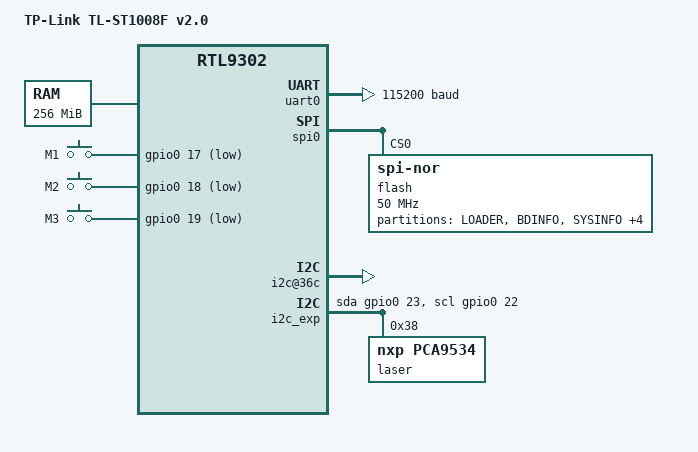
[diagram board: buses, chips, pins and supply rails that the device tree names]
// SPDX-License-Identifier: GPL-2.0+
/*
 * TP-Link TL-ST1008F v2 (RTL9303), U-Boot stage 0: console + memory only.
 * UART/clock facts match Linux (OpenWrt rtl930x.dtsi, ns16550a @ 0x18002000).
 */
/dts-v1/;

/ {
	compatible = "tplink,tl-st1008f-v2", "realtek,rtl9302-soc";
	model = "TP-Link TL-ST1008F v2.0";
	#address-cells = <1>;
	#size-cells = <1>;

	aliases {
		serial0 = &uart0;
		/* i2c0..7 = SFP cage 1..8 (EEPROM 0x50, DDM 0x51); i2c8 = laser TX-disable expander */
		i2c0 = &sfp_i2c0;
		i2c1 = &sfp_i2c1;
		i2c2 = &sfp_i2c2;
		i2c3 = &sfp_i2c3;
		i2c4 = &sfp_i2c4;
		i2c5 = &sfp_i2c5;
		i2c6 = &sfp_i2c6;
		i2c7 = &sfp_i2c7;
		i2c8 = &i2c_exp;
	};

	chosen {
		stdout-path = "serial0:115200n8";
	};

	cpus {
		#address-cells = <1>;
		#size-cells = <0>;

		cpu@0 {
			device_type = "cpu";
			compatible = "mips,mips34Kc";
			reg = <0>;
		};
	};

	/* Second 256 MiB is not linearly mapped (needs highmem remap). */
	memory@0 {
		device_type = "memory";
		reg = <0x00000000 0x10000000>;
	};

	soc {
		compatible = "simple-bus";
		#address-cells = <1>;
		#size-cells = <1>;
		ranges = <0x0 0x18000000 0x10000>;

		/* Data in bits 31:24 = byte 0 of each 32-bit reg. U-Boot's BE ns16550 reads
		 * byte (1 << shift) - 1; reg-offset -3 (u32 wrap) cancels that. */
		uart0: serial@2000 {
			compatible = "ns16550a";
			reg = <0x2000 0x100>;
			reg-io-width = <1>;
			reg-shift = <2>;
			reg-offset = <0xfffffffd>;
			clock-frequency = <175000000>;	/* LX bus */
			current-speed = <115200>;
			no-loopback-test;
		};

		gpio0: gpio@3300 {
			compatible = "realtek,rtl9300-gpio";
			reg = <0x3300 0x1c>;
			gpio-controller;
			#gpio-cells = <2>;
			ngpios = <24>;
			gpio-bank-name = "gpio";
		};

		/* SPI-NOR controller (Linux rtl930x.dtsi spi@1200). Read-only driver; clock divider inherited from stock. */
		spi0: spi@1200 {
			compatible = "realtek,rtl8380-spi";
			reg = <0x1200 0x100>;
			#address-cells = <1>;
			#size-cells = <0>;

			flash@0 {
				compatible = "jedec,spi-nor";	/* Winbond EF4019, 32 MiB; also mapped at 0xb4000000 */
				reg = <0>;
				spi-max-frequency = <50000000>;	/* ignored by the driver (no divider control) */

				partitions {
					compatible = "fixed-partitions";
					#address-cells = <1>;
					#size-cells = <1>;

					partition@0 {
						label = "LOADER";
						reg = <0x0 0xe0000>;
						read-only;
					};
					partition@e0000 {
						label = "BDINFO";
						reg = <0xe0000 0x10000>;
						read-only;
					};
					partition@f0000 {
						label = "SYSINFO";
						reg = <0xf0000 0x10000>;
						read-only;
					};
					partition@100000 {
						label = "JFFS2_CFG";
						reg = <0x100000 0x100000>;
						read-only;
					};
					partition@200000 {
						label = "JFFS2_LOG";
						reg = <0x200000 0x100000>;
						read-only;
					};
					partition@300000 {
						label = "RUNTIME1";
						reg = <0x300000 0xe80000>;
						read-only;
					};
					partition@1180000 {
						label = "RUNTIME2";
						reg = <0x1180000 0xe80000>;
						read-only;
					};
				};
			};
		};
	};

	/* Switch core register block (Linux rtl930x.dtsi switch@1b000000). */
	switchcore {
		compatible = "simple-bus";
		#address-cells = <1>;
		#size-cells = <1>;
		ranges = <0x0 0x1b000000 0x10000>;

		/* SFP I2C master 0: SCL0 = GPIO8, SDA0-7 = GPIO9-16, one SDA per cage.
		 * 100 kHz = SFF-8472 base rate (400 kHz optional per module; #32). */
		i2c@36c {
			compatible = "realtek,rtl9301-i2c";
			reg = <0x36c 0x14>;
			#address-cells = <1>;
			#size-cells = <0>;

			sfp_i2c0: i2c@0 { reg = <0>; clock-frequency = <100000>; };
			sfp_i2c1: i2c@1 { reg = <1>; clock-frequency = <100000>; };
			sfp_i2c2: i2c@2 { reg = <2>; clock-frequency = <100000>; };
			sfp_i2c3: i2c@3 { reg = <3>; clock-frequency = <100000>; };
			sfp_i2c4: i2c@4 { reg = <4>; clock-frequency = <100000>; };
			sfp_i2c5: i2c@5 { reg = <5>; clock-frequency = <100000>; };
			sfp_i2c6: i2c@6 { reg = <6>; clock-frequency = <100000>; };
			sfp_i2c7: i2c@7 { reg = <7>; clock-frequency = <100000>; };
		};
	};

	/* Bit-banged bus to the TCA9534A laser TX-disable expander (SDA GPIO23, SCL GPIO22).
	 * Expander pin N = cage N+1, active-high TX-disable; power-on = all inputs = lasers off. */
	i2c_exp: i2c-expander {
		compatible = "i2c-gpio";
		sda-gpios = <&gpio0 23 0>;
		scl-gpios = <&gpio0 22 0>;
		i2c-gpio,delay-us = <2>;	/* same as the OpenWrt DTS */
		#address-cells = <1>;
		#size-cells = <0>;

		gpio_exp: gpio@38 {
			compatible = "nxp,pca9534";	/* TCA9534A: same register map */
			reg = <0x38>;
			gpio-controller;
			#gpio-cells = <2>;
			label = "laser";
		};
	};

	/* 3-position mode switch, one-hot active-low (stock rtk.ko decode, docs/hardware.md).
	 * Pin 17 reads low in every position so far (#8): reported as-is, not interpreted. */
	keys {
		compatible = "gpio-keys";

		mode-m1 {
			label = "M1";
			gpios = <&gpio0 17 1>;	/* GPIO_ACTIVE_LOW */
			linux,code = <256>;	/* BTN_0; button-gpio probe requires it */
		};
		mode-m2 {
			label = "M2";
			gpios = <&gpio0 18 1>;
			linux,code = <257>;	/* BTN_1 */
		};
		mode-m3 {
			label = "M3";
			gpios = <&gpio0 19 1>;
			linux,code = <258>;	/* BTN_2 */
		};
	};
};
